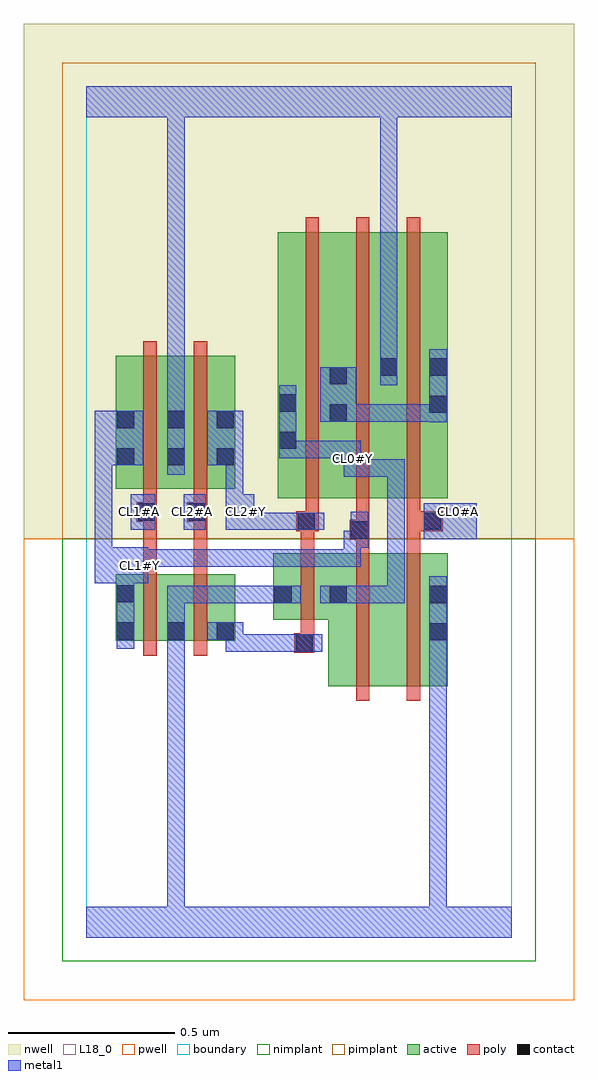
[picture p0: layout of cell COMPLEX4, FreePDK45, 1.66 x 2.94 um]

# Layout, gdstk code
import gdstk
lib = gdstk.Library(unit=1e-6, precision=1e-09)
def R(c, l, rs):  # rectangles x0, y0, x1, y1
    for r in rs: c.add(gdstk.rectangle(r[:2], r[2:], *l))
def A(c, l, x, y, w, h, nx, ny, dx, dy):  # array of equal rectangles
    R(c, l, [(x+i*dx, y+j*dy, x+i*dx+w, y+j*dy+h) for i in range(nx) for j in range(ny)])
active = (1, 0)
pwell = (2, 0)
nwell = (3, 0)
nimplant = (4, 0)
pimplant = (5, 0)
poly = (9, 0)
contact = (10, 0)
metal1 = (11, 0)
L18_0 = (18, 0)
boundary = (235, 0)

complex4 = lib.new_cell('COMPLEX4')
R(complex4, active, [(0.728,0.756,0.908,1.156), (0.908,0.756,1.088,1.156), (1.028,0.756,1.088,1.156), (0.088,0.892,0.148,1.092), (0.088,0.892,0.3,1.092), (0.24,0.892,0.448,1.092), (0.24,0.892,0.3,1.028), (0.388,0.892,0.448,1.092), (0.562,0.956,0.788,1.156), (0.562,0.956,0.622,1.156), (0.728,0.956,0.788,1.062), (0.576,1.322,0.788,2.122), (0.576,1.322,0.636,2.044), (0.728,1.322,0.788,2.122), (0.728,1.322,0.94,2.122), (0.88,1.322,1.088,2.122), (1.028,1.322,1.088,2.122), (0.088,1.35,0.148,1.75), (0.088,1.35,0.3,1.75), (0.24,1.35,0.3,1.644), (0.24,1.35,0.448,1.75), (0.388,1.35,0.448,1.644), (0.88,1.686,0.94,2.122)])
R(complex4, pwell, [(-0.188,-0.188,1.468,1.2)])
R(complex4, nwell, [(-0.188,1.2,1.468,2.748)])
R(complex4, nimplant, [(-0.072,-0.072,1.352,1.2)])
R(complex4, pimplant, [(-0.072,1.2,1.352,2.632)])
A(complex4, poly, 0.66, 1.278, 0.04, 0.888, 3, 1, 0.152, 0)
R(complex4, poly, [(0.812,0.712,0.852,1.2), (0.964,0.712,1.004,1.2), (0.172,0.848,0.212,1.136), (0.324,0.848,0.364,1.136), (0.626,0.856,0.686,0.916), (0.646,0.876,0.686,0.952), (0.646,0.912,0.686,1.2), (0.172,1.096,0.212,1.29), (0.324,1.096,0.364,1.29), (0.646,1.16,0.686,1.262), (0.812,1.16,0.852,1.236), (0.964,1.16,1.004,1.262), (0.792,1.196,0.852,1.256), (0.812,1.216,0.852,1.256), (0.812,1.216,0.852,1.256), (0.812,1.216,0.852,1.318), (0.632,1.222,0.7,1.282), (0.646,1.222,0.686,1.262), (0.646,1.222,0.686,1.262), (0.964,1.222,1.004,1.262), (0.964,1.222,1.004,1.262), (0.964,1.222,1.072,1.282), (0.66,1.242,0.7,1.318), (0.964,1.242,1.004,1.318), (0.152,1.25,0.212,1.31), (0.172,1.25,0.212,1.29), (0.172,1.25,0.212,1.29), (0.304,1.25,0.364,1.31), (0.324,1.25,0.364,1.29), (0.324,1.25,0.364,1.29), (0.172,1.27,0.212,1.346), (0.324,1.27,0.364,1.346), (0.172,1.306,0.212,1.794), (0.324,1.306,0.364,1.794)])
R(complex4, contact, [(0.63,0.86,0.682,0.912), (1.032,0.894,1.084,0.946), (0.092,0.896,0.144,0.948), (0.244,0.896,0.296,0.948), (0.392,0.896,0.444,0.948), (0.566,1.006,0.618,1.058), (0.732,1.006,0.784,1.058), (1.032,1.006,1.084,1.058), (0.092,1.008,0.144,1.06), (0.796,1.2,0.848,1.252), (0.636,1.226,0.688,1.278), (1.016,1.226,1.068,1.278), (0.156,1.254,0.208,1.306), (0.308,1.254,0.36,1.306), (0.092,1.42,0.144,1.472), (0.244,1.42,0.296,1.472), (0.392,1.42,0.444,1.472), (0.58,1.47,0.632,1.522), (0.092,1.532,0.144,1.584), (0.244,1.532,0.296,1.584), (0.392,1.532,0.444,1.584), (0.732,1.552,0.784,1.604), (1.032,1.578,1.084,1.63), (0.58,1.582,0.632,1.634), (0.732,1.664,0.784,1.716), (0.884,1.69,0.936,1.742), (1.032,1.69,1.084,1.742)])
R(complex4, metal1, [(0,0,1.28,0.092), (0.244,0.04,0.296,0.092), (0.244,0.04,0.296,0.092), (0.244,0.04,0.296,0.92), (1.032,0.04,1.084,0.092), (1.032,0.04,1.084,0.092), (1.032,0.04,1.084,0.092), (1.032,0.04,1.084,0.092), (1.032,0.04,1.084,0.092), (1.032,0.04,1.084,0.092), (1.032,0.04,1.084,0.092), (1.032,0.04,1.084,0.092), (1.032,0.04,1.084,0.918), (0.42,0.86,0.472,0.912), (0.42,0.86,0.516,0.912), (0.42,0.86,0.472,0.948), (0.464,0.86,0.516,0.912), (0.464,0.86,0.654,0.912), (0.602,0.86,0.71,0.912), (1.032,0.866,1.084,1.086), (1.032,0.866,1.084,0.918), (1.032,0.866,1.084,0.918), (1.032,0.866,1.084,0.918), (1.032,0.866,1.084,0.918), (0.092,0.868,0.144,1.088), (0.244,0.868,0.296,0.92), (0.244,0.868,0.296,0.92), (0.244,0.868,0.296,0.92), (0.244,0.868,0.296,0.92), (0.244,0.868,0.296,0.92), (0.244,0.868,0.296,0.92), (0.244,0.868,0.296,0.92), (0.244,0.868,0.296,0.92), (0.244,0.868,0.296,0.92), (0.244,0.868,0.296,0.92), (0.244,0.868,0.296,0.92), (0.244,0.868,0.296,0.92), (0.244,0.868,0.296,0.92), (0.244,0.868,0.296,0.92), (0.244,0.868,0.296,0.976), (0.364,0.896,0.472,0.948), (0.244,0.924,0.296,1.058), (0.244,1.006,0.406,1.058), (0.244,1.006,0.296,1.058), (0.354,1.006,0.406,1.058), (0.354,1.006,0.406,1.058), (0.354,1.006,0.406,1.058), (0.354,1.006,0.59,1.058), (0.538,1.006,0.646,1.058), (0.704,1.006,0.812,1.058), (0.76,1.006,0.848,1.058), (0.796,1.006,0.958,1.058), (0.796,1.006,0.848,1.058), (0.906,1.006,0.958,1.058), (0.906,1.006,0.958,1.438), (0.092,1.036,0.144,1.118), (0.026,1.066,0.186,1.174), (0.134,1.116,0.296,1.168), (0.134,1.116,0.186,1.168), (0.134,1.116,0.186,1.168), (0.244,1.116,0.296,1.168), (0.244,1.116,0.296,1.168), (0.244,1.116,0.296,1.168), (0.244,1.116,0.516,1.168), (0.464,1.116,0.626,1.168), (0.464,1.116,0.516,1.168), (0.464,1.116,0.516,1.168), (0.464,1.116,0.516,1.168), (0.574,1.116,0.626,1.168), (0.574,1.116,0.826,1.168), (0.774,1.116,0.826,1.224), (0.026,1.122,0.078,1.472), (0.774,1.172,0.848,1.224), (0.796,1.172,0.848,1.28), (1.016,1.198,1.174,1.306), (0.134,1.226,0.208,1.334), (0.294,1.226,0.36,1.334), (0.42,1.226,0.506,1.334), (0.454,1.226,0.646,1.278), (0.594,1.226,0.646,1.278), (0.594,1.226,0.66,1.278), (0.608,1.226,0.716,1.278), (0.42,1.282,0.472,1.472), (0.774,1.386,0.826,1.438), (0.774,1.386,0.826,1.438), (0.774,1.386,0.826,1.494), (0.774,1.386,0.958,1.438), (0.906,1.386,0.958,1.438), (0.906,1.386,0.958,1.438), (0.906,1.386,0.958,1.438), (0.244,1.392,0.296,1.612), (0.026,1.42,0.078,1.472), (0.026,1.42,0.078,1.472), (0.026,1.42,0.172,1.584), (0.364,1.42,0.472,1.584), (0.58,1.442,0.632,1.662), (0.58,1.442,0.632,1.494), (0.58,1.442,0.632,1.494), (0.58,1.442,0.826,1.494), (0.774,1.442,0.826,1.494), (0.774,1.442,0.826,1.494), (1.032,1.55,1.084,1.77), (0.704,1.552,0.812,1.716), (0.76,1.552,0.826,1.604), (0.774,1.552,0.826,1.604), (0.774,1.552,0.974,1.604), (0.922,1.552,1.084,1.604), (0.922,1.552,0.974,1.604), (0.922,1.552,0.974,1.604), (0.922,1.552,0.974,1.604), (0.922,1.552,0.974,1.604), (0.922,1.552,0.974,1.604), (0.244,1.56,0.296,1.612), (0.244,1.56,0.296,1.612), (0.244,1.56,0.296,2.52), (0.884,1.662,0.936,1.77), (0.884,1.718,0.936,2.52), (0,2.468,1.28,2.56), (0.244,2.468,0.296,2.52), (0.244,2.468,0.296,2.52), (0.244,2.468,0.296,2.52), (0.244,2.468,0.296,2.52), (0.244,2.468,0.296,2.52), (0.244,2.468,0.296,2.52), (0.244,2.468,0.296,2.52), (0.244,2.468,0.296,2.52), (0.244,2.468,0.296,2.52), (0.244,2.468,0.296,2.52), (0.244,2.468,0.296,2.52), (0.244,2.468,0.296,2.52), (0.244,2.468,0.296,2.52), (0.244,2.468,0.296,2.52), (0.884,2.468,0.936,2.52), (0.884,2.468,0.936,2.52), (0.884,2.468,0.936,2.52), (0.884,2.468,0.936,2.52), (0.884,2.468,0.936,2.52), (0.884,2.468,0.936,2.52), (0.884,2.468,0.936,2.52), (0.884,2.468,0.936,2.52)])
A(complex4, L18_0, 0.134, 1.254, 0.052, 0.052, 3, 1, 0.16, 0)
A(complex4, L18_0, 0.774, 1.386, 0.052, 0.052, 1, 3, 0, 0.028)
R(complex4, L18_0, [(0,0,1.28,0.092), (0.244,0.04,0.296,0.092), (0.244,0.04,0.296,0.092), (0.244,0.04,0.296,0.92), (1.032,0.04,1.084,0.092), (1.032,0.04,1.084,0.092), (1.032,0.04,1.084,0.092), (1.032,0.04,1.084,0.092), (1.032,0.04,1.084,0.092), (1.032,0.04,1.084,0.092), (1.032,0.04,1.084,0.092), (1.032,0.04,1.084,0.092), (1.032,0.04,1.084,0.918), (0.42,0.86,0.472,0.912), (0.42,0.86,0.472,0.948), (0.42,0.86,0.516,0.912), (0.464,0.86,0.516,0.912), (0.464,0.86,0.654,0.912), (0.602,0.86,0.71,0.912), (1.032,0.866,1.084,1.086), (1.032,0.866,1.084,0.918), (1.032,0.866,1.084,0.918), (1.032,0.866,1.084,0.918), (1.032,0.866,1.084,0.918), (0.092,0.868,0.144,1.088), (0.244,0.868,0.296,0.92), (0.244,0.868,0.296,0.92), (0.244,0.868,0.296,0.92), (0.244,0.868,0.296,0.92), (0.244,0.868,0.296,0.92), (0.244,0.868,0.296,0.92), (0.244,0.868,0.296,0.92), (0.244,0.868,0.296,0.92), (0.244,0.868,0.296,0.92), (0.244,0.868,0.296,0.92), (0.244,0.868,0.296,0.92), (0.244,0.868,0.296,0.92), (0.244,0.868,0.296,0.92), (0.244,0.868,0.296,0.92), (0.244,0.868,0.296,0.976), (0.364,0.896,0.472,0.948), (0.244,0.924,0.296,1.058), (0.244,1.006,0.296,1.058), (0.244,1.006,0.406,1.058), (0.354,1.006,0.406,1.058), (0.354,1.006,0.406,1.058), (0.354,1.006,0.406,1.058), (0.354,1.006,0.59,1.058), (0.538,1.006,0.646,1.058), (0.704,1.006,0.812,1.058), (0.76,1.006,0.848,1.058), (0.796,1.006,0.848,1.058), (0.796,1.006,0.958,1.058), (0.906,1.006,0.958,1.058), (0.906,1.006,0.958,1.438), (0.092,1.036,0.144,1.118), (0.026,1.066,0.186,1.174), (0.134,1.094,0.186,1.146), (0.134,1.116,0.186,1.168), (0.134,1.116,0.186,1.168), (0.134,1.116,0.296,1.168), (0.244,1.116,0.296,1.168), (0.244,1.116,0.296,1.168), (0.244,1.116,0.296,1.168), (0.244,1.116,0.516,1.168), (0.464,1.116,0.516,1.168), (0.464,1.116,0.516,1.168), (0.464,1.116,0.516,1.168), (0.464,1.116,0.626,1.168), (0.574,1.116,0.626,1.168), (0.574,1.116,0.826,1.168), (0.774,1.116,0.826,1.224), (0.026,1.122,0.078,1.472), (0.774,1.172,0.848,1.224), (0.796,1.172,0.848,1.28), (1.016,1.198,1.174,1.306), (0.134,1.226,0.208,1.334), (0.294,1.226,0.36,1.334), (0.42,1.226,0.506,1.334), (0.454,1.226,0.646,1.278), (0.594,1.226,0.646,1.278), (0.594,1.226,0.66,1.278), (0.608,1.226,0.716,1.278), (1.094,1.254,1.146,1.306), (0.42,1.282,0.472,1.472), (0.774,1.386,0.826,1.438), (0.774,1.386,0.826,1.494), (0.774,1.386,0.958,1.438), (0.906,1.386,0.958,1.438), (0.906,1.386,0.958,1.438), (0.906,1.386,0.958,1.438), (0.244,1.392,0.296,1.612), (0.026,1.42,0.078,1.472), (0.026,1.42,0.078,1.472), (0.026,1.42,0.172,1.584), (0.364,1.42,0.472,1.584), (0.58,1.442,0.632,1.662), (0.58,1.442,0.632,1.494), (0.58,1.442,0.632,1.494), (0.58,1.442,0.826,1.494), (0.774,1.442,0.826,1.494), (0.244,1.56,0.296,1.612), (0.244,1.56,0.296,1.612), (0.244,1.56,0.296,2.52), (0.884,1.662,0.936,1.77), (0.884,1.718,0.936,2.52), (0,2.468,1.28,2.56), (0.244,2.468,0.296,2.52), (0.244,2.468,0.296,2.52), (0.244,2.468,0.296,2.52), (0.244,2.468,0.296,2.52), (0.244,2.468,0.296,2.52), (0.244,2.468,0.296,2.52), (0.244,2.468,0.296,2.52), (0.244,2.468,0.296,2.52), (0.244,2.468,0.296,2.52), (0.244,2.468,0.296,2.52), (0.244,2.468,0.296,2.52), (0.244,2.468,0.296,2.52), (0.244,2.468,0.296,2.52), (0.244,2.468,0.296,2.52), (0.884,2.468,0.936,2.52), (0.884,2.468,0.936,2.52), (0.884,2.468,0.936,2.52), (0.884,2.468,0.936,2.52), (0.884,2.468,0.936,2.52), (0.884,2.468,0.936,2.52), (0.884,2.468,0.936,2.52), (0.884,2.468,0.936,2.52)])
R(complex4, boundary, [(0,0,1.28,2.56)])
complex4.add(gdstk.Label('CL0#A', (1.12,1.28), layer=11, texttype=0))
complex4.add(gdstk.Label('CL0#Y', (0.8,1.44), layer=11, texttype=0))
complex4.add(gdstk.Label('CL1#A', (0.16,1.28), layer=11, texttype=0))
complex4.add(gdstk.Label('CL1#Y', (0.16,1.12), layer=11, texttype=0))
complex4.add(gdstk.Label('CL2#A', (0.32,1.28), layer=11, texttype=0))
complex4.add(gdstk.Label('CL2#Y', (0.48,1.28), layer=11, texttype=0))

lib.write_gds('COMPLEX4.gds')
